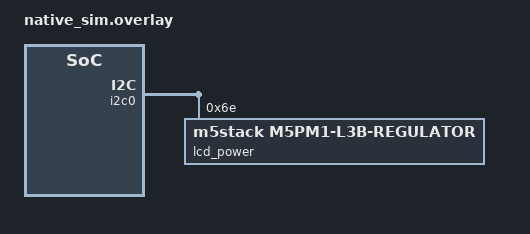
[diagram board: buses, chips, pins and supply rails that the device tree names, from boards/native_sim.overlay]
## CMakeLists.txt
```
# SPDX-License-Identifier: Apache-2.0

cmake_minimum_required(VERSION 3.20.0)
find_package(Zephyr REQUIRED HINTS $ENV{ZEPHYR_BASE})
project(m5pm1_regulator_test)

target_sources(app PRIVATE src/test_m5pm1.c)
```

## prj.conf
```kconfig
CONFIG_ZTEST=y
CONFIG_I2C=y
CONFIG_I2C_EMUL=y
CONFIG_EMUL=y
CONFIG_REGULATOR=y
CONFIG_REGULATOR_M5PM1=y
CONFIG_EMUL_M5PM1=y
CONFIG_LOG=y
```

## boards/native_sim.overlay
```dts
/* SPDX-License-Identifier: Apache-2.0 */

&i2c0 {
	status = "okay";

	lcd_power: regulator@6e {
		compatible = "m5stack,m5pm1-l3b-regulator";
		reg = <0x6e>;
		regulator-name = "lcd-l3b";
		regulator-boot-on;
		gpio = <2>;
		status = "okay";
	};
};
```

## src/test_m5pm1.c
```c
/* SPDX-License-Identifier: Apache-2.0 */

#include <zephyr/ztest.h>
#include <zephyr/device.h>
#include <zephyr/drivers/emul.h>
#include <zephyr/drivers/i2c.h>
#include <zephyr/drivers/regulator.h>
#include <zephyr/sys/util.h>

#define REG_NODE DT_NODELABEL(lcd_power)

static const struct device *const reg = DEVICE_DT_GET(REG_NODE);
static const struct i2c_dt_spec pmic = I2C_DT_SPEC_GET(REG_NODE);
static const struct emul *const emul = EMUL_DT_GET(REG_NODE);

/* Emulator test backend (defined in emul_m5pm1.c). */
extern void emul_m5pm1_set_fail(const struct emul *target, int n);
extern void emul_m5pm1_reset_log(const struct emul *target);
extern int emul_m5pm1_write_count(const struct emul *target);
extern int emul_m5pm1_write_at(const struct emul *target, int idx);

/* M5PM1 register map (subset used by the driver). */
#define M5PM1_GPIO_MODE  0x10
#define M5PM1_GPIO_OUT   0x11
#define M5PM1_GPIO_DRV   0x13
#define M5PM1_GPIO_FUNC0 0x16
#define M5PM1_I2C_CFG    0x09
#define PYG2             BIT(2)
#define PYG3             BIT(3)
#define FUNC0_GPIO2_MASK (0x3U << 4) /* GPIO2 occupies FUNC0 bits [5:4] */
#define FUNC0_GPIO3_MASK (0x3U << 6) /* GPIO3 (neighbour) bits [7:6] */

static uint8_t reg_get(uint8_t r)
{
	uint8_t v = 0xffU;

	zassert_ok(i2c_reg_read_byte_dt(&pmic, r, &v), "i2c read of 0x%02x failed", r);
	return v;
}

static void reg_put(uint8_t r, uint8_t v)
{
	zassert_ok(i2c_reg_write_byte_dt(&pmic, r, v), "i2c write of 0x%02x failed", r);
}

/*
 * After boot (regulator-boot-on), the driver must have driven the L3B rail
 * (PYG2) high using the full M5GFX sequence. The emulator seeds every touched
 * register to the opposite state, so each assertion requires a real write.
 */
ZTEST(m5pm1, test_boot_on_enables_rail)
{
	zassert_true(device_is_ready(reg), "regulator not ready");
	zassert_true(regulator_is_enabled(reg), "rail should be enabled at boot");

	zassert_true(reg_get(M5PM1_GPIO_OUT) & PYG2, "GPIO_OUT bit2 should be high");
	zassert_true(reg_get(M5PM1_GPIO_MODE) & PYG2, "GPIO_MODE bit2 should be output");
	zassert_false(reg_get(M5PM1_GPIO_DRV) & PYG2, "GPIO_DRV bit2 should be push-pull");
	zassert_equal(reg_get(M5PM1_GPIO_FUNC0) & FUNC0_GPIO2_MASK, 0U,
		      "FUNC0 GPIO2 field should be cleared to plain GPIO");
	zassert_equal(reg_get(M5PM1_I2C_CFG), 0U, "idle-sleep should be disabled");
}

/*
 * enable() must re-assert the FULL sequence idempotently. Corrupt MODE/DRV/FUNC0
 * after disable, then enable, and confirm all are restored (not just OUT).
 */
ZTEST(m5pm1, test_enable_reasserts_full_sequence)
{
	zassert_ok(regulator_disable(reg));

	/* Corrupt the rail config as if prior firmware left it wrong. */
	reg_put(M5PM1_GPIO_MODE, 0x00);  /* PYG2 input */
	reg_put(M5PM1_GPIO_DRV, 0x1F);   /* PYG2 open-drain */
	reg_put(M5PM1_GPIO_FUNC0, 0xFF); /* PYG2 alt-func */

	zassert_ok(regulator_enable(reg));

	zassert_true(reg_get(M5PM1_GPIO_OUT) & PYG2, "OUT bit2 set");
	zassert_true(reg_get(M5PM1_GPIO_MODE) & PYG2, "MODE re-asserted to output");
	zassert_false(reg_get(M5PM1_GPIO_DRV) & PYG2, "DRV re-asserted to push-pull");
	zassert_equal(reg_get(M5PM1_GPIO_FUNC0) & FUNC0_GPIO2_MASK, 0U,
		      "FUNC0 re-asserted to plain GPIO");
}

/* disable() clears only PYG2; enable() restores it; refcount tracks state. */
ZTEST(m5pm1, test_disable_then_enable)
{
	zassert_ok(regulator_disable(reg), "disable failed");
	zassert_false(reg_get(M5PM1_GPIO_OUT) & PYG2, "OUT bit2 should clear on disable");
	zassert_false(regulator_is_enabled(reg), "rail should report disabled");

	zassert_ok(regulator_enable(reg), "enable failed");
	zassert_true(reg_get(M5PM1_GPIO_OUT) & PYG2, "OUT bit2 should set on enable");
	zassert_true(regulator_is_enabled(reg), "rail should report enabled");
}

/*
 * The per-pin RMW must not disturb neighbour GPIOs. Set PYG3 bits everywhere,
 * cycle the rail, and confirm PYG3 survives in OUT/MODE/DRV/FUNC0 (catches a
 * mask/shift bug that would clobber a sibling).
 */
ZTEST(m5pm1, test_neighbour_pyg3_preserved)
{
	zassert_ok(regulator_disable(reg));
	reg_put(M5PM1_GPIO_OUT, PYG3);
	reg_put(M5PM1_GPIO_MODE, PYG3);
	reg_put(M5PM1_GPIO_DRV, PYG3);
	reg_put(M5PM1_GPIO_FUNC0, FUNC0_GPIO3_MASK); /* PYG3 alt-func set */

	zassert_ok(regulator_enable(reg));

	zassert_true(reg_get(M5PM1_GPIO_OUT) & PYG3, "OUT PYG3 must be preserved");
	zassert_true(reg_get(M5PM1_GPIO_MODE) & PYG3, "MODE PYG3 must be preserved");
	zassert_true(reg_get(M5PM1_GPIO_DRV) & PYG3, "DRV PYG3 must be preserved");
	zassert_equal(reg_get(M5PM1_GPIO_FUNC0) & FUNC0_GPIO3_MASK, FUNC0_GPIO3_MASK,
		      "FUNC0 GPIO3 field must be preserved");
}

/*
 * Write ordering matters: the rail must reach push-pull output BEFORE being
 * driven high. Verify GPIO_OUT (0x11) is the LAST register written by enable(),
 * and GPIO_DRV (0x13) is written before it.
 */
ZTEST(m5pm1, test_enable_write_order)
{
	int n, last, drv_idx = -1, out_idx = -1;

	zassert_ok(regulator_disable(reg));
	/* Corrupt MODE/DRV/FUNC0 so the RMW writes all actually fire (an
	 * unchanged value is skipped by i2c_reg_update_byte).
	 */
	reg_put(M5PM1_GPIO_MODE, 0x00);
	reg_put(M5PM1_GPIO_DRV, 0x1F);
	reg_put(M5PM1_GPIO_FUNC0, 0xFF);
	emul_m5pm1_reset_log(emul);
	zassert_ok(regulator_enable(reg));

	n = emul_m5pm1_write_count(emul);
	zassert_true(n >= 4, "enable should emit FUNC/MODE/DRV/OUT writes (got %d)", n);

	for (int i = 0; i < n; i++) {
		int r = emul_m5pm1_write_at(emul, i);

		if (r == M5PM1_GPIO_DRV) {
			drv_idx = i;
		}
		if (r == M5PM1_GPIO_OUT) {
			out_idx = i;
		}
	}
	last = emul_m5pm1_write_at(emul, n - 1);
	zassert_equal(last, M5PM1_GPIO_OUT, "GPIO_OUT must be the last write of enable()");
	zassert_true(drv_idx >= 0 && drv_idx < out_idx,
		     "GPIO_DRV (push-pull) must be written before GPIO_OUT (high)");
}

/* I2C failure on the enable path must propagate as an error (not silent OK). */
ZTEST(m5pm1, test_enable_propagates_i2c_error)
{
	zassert_ok(regulator_disable(reg));
	emul_m5pm1_set_fail(emul, 1); /* fail the next transfer */
	zassert_true(regulator_enable(reg) < 0, "enable must return an error on I2C failure");

	emul_m5pm1_set_fail(emul, 0); /* clear injection, restore good state */
	zassert_ok(regulator_enable(reg));
	zassert_true(reg_get(M5PM1_GPIO_OUT) & PYG2);
}

ZTEST_SUITE(m5pm1, NULL, NULL, NULL, NULL, NULL);
```
